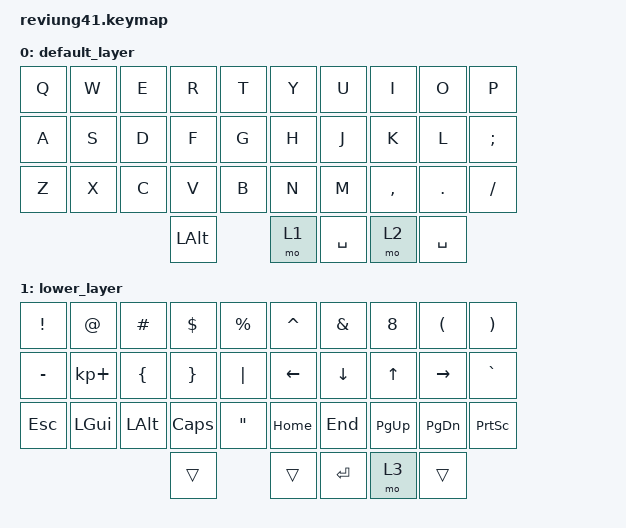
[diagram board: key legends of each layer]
/*
 * Copyright (c) 2020 The ZMK Contributors
 *
 * SPDX-License-Identifier: MIT
 */

#include <behaviors.dtsi>
#include <dt-bindings/zmk/keys.h>
#include <dt-bindings/zmk/bt.h>
#include <dt-bindings/zmk/rgb.h>

/ {
        keymap {
                compatible = "zmk,keymap";

                default_layer {
// -------------------------------------------------------------------------------------
// |  TAB |  Q  |  W  |  E  |  R  |  T  |   |  Y  |  U   |  I  |  O  |  P  |   BKSP    |
// | CTRL |  A  |  S  |  D  |  F  |  G  |   |  H  |  J   |  K  |  L  |  ;  |    '      |
// | SHFT |  Z  |  X  |  C  |  V  |  B  |   |  N  |  M   |  ,  |  .  |  /  | SHFT(RET) |
//                         | ALT | LWR | SPC | RSE  | ALT |
                        bindings = <
   &kp Q &kp W &kp E &kp R &kp T   &kp Y &kp U  &kp I     &kp O   &kp P    
   &kp A &kp S &kp D &kp F &kp G   &kp H &kp J  &kp K     &kp L   &kp SEMI
   &kp Z &kp X &kp C &kp V &kp B   &kp N &kp M  &kp COMMA &kp DOT &kp FSLH
                        &kp LALT  &mo 1 &kp SPACE &mo 2  &kp SPACE 
                        >;
                };

                lower_layer {
// ----------------------------------------------------------------------------------
// |    |  !  |  @  |  #  |  $  |  %  |   |  ^  |  &  |  *  |  (  |  )  |    DEL    |
// |    |  _  |  +  |  {  |  }  | "|" |   | LFT | DWN |  UP | RGT |  `  |     ~     |
// |    | ESC | GUI | ALT | CAPS|  "  |   | HOME| END | PGUP| PGDN| PRSC| SHFT(RET) |
//                       |     |     | RET | ADJ |     |
                        bindings = <
&kp EXCL  &kp AT      &kp HASH &kp DLLR &kp PRCNT      &kp CARET &kp AMPS &kp N8    &kp LPAR  &kp RPAR 
&kp MINUS &kp KP_PLUS &kp LBRC &kp RBRC &kp PIPE       &kp LEFT  &kp DOWN &kp UP    &kp RIGHT &kp GRAVE
&kp ESC   &kp LGUI    &kp LALT &kp CLCK &kp DQT        &kp HOME  &kp END  &kp PG_UP &kp PG_DN &kp PSCRN
                                 &trans      &trans       &kp RET        &mo 3       &trans
                        >;
                };

        };
};


